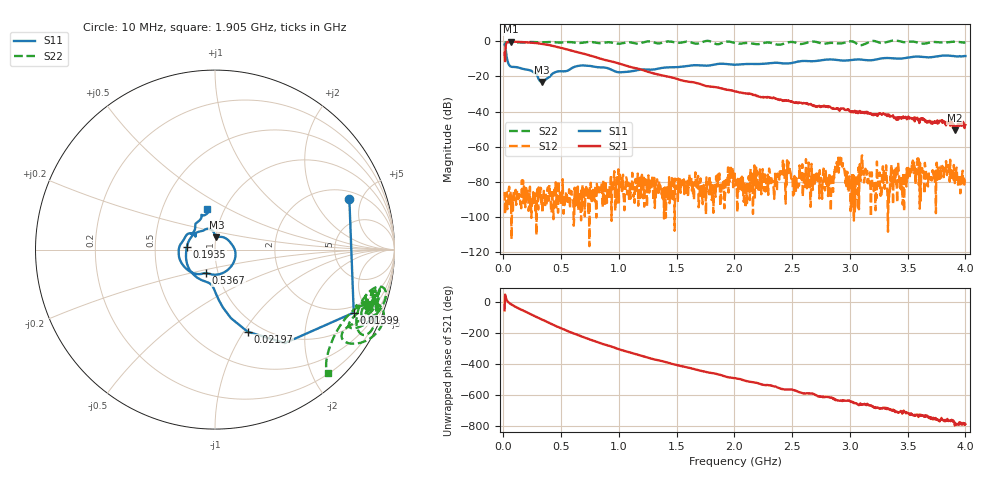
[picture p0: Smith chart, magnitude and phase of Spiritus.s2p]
!  03/07/2026  12:43:11
! Ref Plane: 0.000 mm
# MHZ S MA R  50
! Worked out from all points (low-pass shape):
!   1001 points, 10 MHz to 4 GHz, reference 50 ohm
!   highest |S21| = -0.26 dB at 61.87 MHz (marker M1); lowest = -50.6 dB at 3.908 GHz (marker M2)
!   |S21| within 3 dB of the highest: 18.82 MHz to 460.9 MHz (442.1 MHz wide, 184 % of centre)
!   lowest |S11| = -23.2 dB at 333.2 MHz (marker M3), VSWR 1.15, Z = 50.3 + j6.98 ohm
!   |S11| at or under -10 dB: 30.89 MHz to 3.254 GHz (3.223 GHz wide, 196 % of centre)
!   |S22| runs from -2.3 to 0.4 dB; largest |S21 - S12| = 0.97
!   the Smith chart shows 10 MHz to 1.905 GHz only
!   S11 on the Smith chart (normalised r, x): 10 MHz: 2.50, +3.95; 13.99 MHz: 1.60, -4.02; 21.97 MHz: 0.86, -1.04; 193.5 MHz: 0.73, +0.02; 536.7 MHz: 0.88, -0.24; 1.905 GHz: 0.83, +0.39
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10  0.8004 20.8  0.4705 -54.2  5.228e-05 -42.4  0.9101 -20.1
13.99  0.849 -24.4  0.2693 47.7  1.203e-05 159.0  0.9132 -19.7
21.97  0.4922 -68.3  0.8138 23.9  2.231e-05 127.7  0.9189 -18.9
61.87  0.1913 -98.4  0.9702 -12.8  4.965e-05 -60.8  0.94 -16.1
193.54  0.1578 174.8  0.9286 -63.9  6.567e-05 -71.5  0.9326 -17.6
333.19  0.0695 83.8  0.8358 -113.5  3.612e-05 -177.5  0.9218 -17.4
536.68  0.1403 -110.3  0.6021 178.7  2.889e-05 103.3  0.9358 -18.4
676.33  0.204 -165.6  0.4545 138.4  6.797e-05 -179.2  0.8966 -24.2
1342.66  0.1665 131.3  0.1123 -15.6  4.203e-05 -19.6  0.865 -21.6
1817.47  0.2136 100.4  0.05022 -98.8  1.331e-05 -43.9  0.9008 -19.1
1905.25  0.228 101.4  0.04432 -115.8  6.572e-05 7.2  0.9331 -47.5
2005  0.2142 95.9  0.03737 -130.1  7.912e-05 45.0  0.8847 -17.0
2671.33  0.2697 63.6  0.01515 130.8  7.952e-05 69.3  0.9646 -22.6
2834.92  0.3021 59.2  0.01304 103.0  1.488e-05 -92.8  0.896 -50.6
2918.71  0.2845 57.5  0.01208 85.3  0.0003145 -147.7  0.8628 -44.1
3002.5  0.2888 50.9  0.01003 78.8  9.259e-05 -140.5  0.9926 -18.9
3102.25  0.2993 50.7  0.00991 63.0  0.0005514 118.8  0.7732 -47.3
3337.66  0.3316 40.7  0.007406 28.4  2.591e-05 -160.3  0.9855 -36.1
3445.39  0.3201 34.9  0.006257 11.1  6.077e-05 -80.9  0.9658 -1.5
3545.14  0.3587 33.9  0.006228 -6.2  0.0004054 54.9  0.9732 -27.6
3908.23  0.372 29.2  0.002953 -74.9  9.292e-05 -37.1  0.9647 -7.1
4000  0.3783 23.5  0.004172 -66.1  0.000113 17.1  0.9038 -9.6
